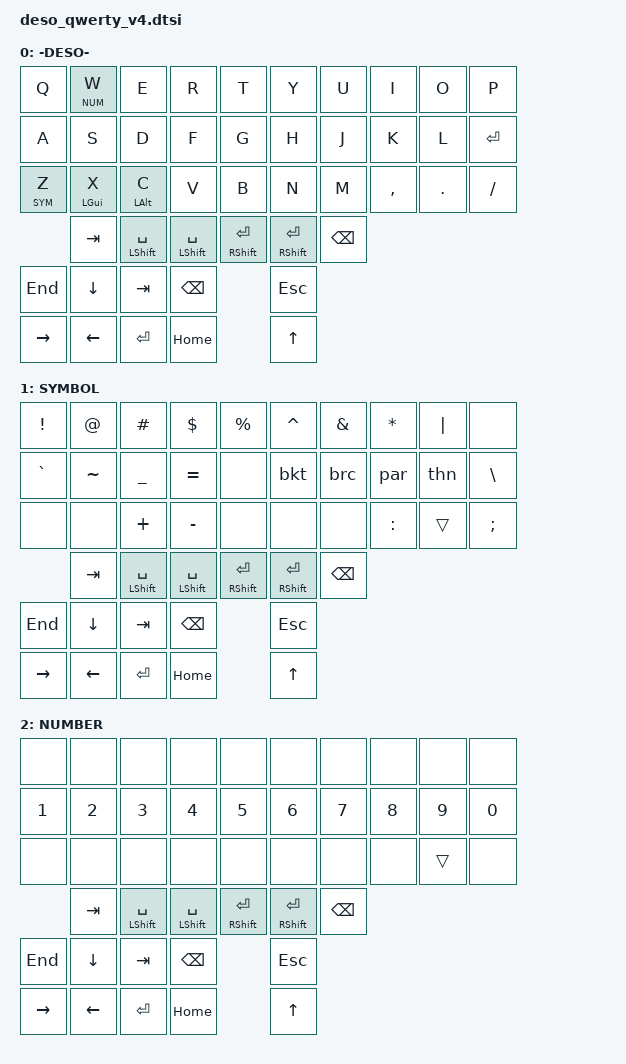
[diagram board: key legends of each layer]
/*
 * Last Update 12/3/24
 * QWERTY v4
 * 
 */

#include <behaviors.dtsi>
#include <dt-bindings/zmk/keys.h>
#include <dt-bindings/zmk/bt.h>
#include <dt-bindings/zmk/outputs.h>

#define DEF      0
#define SYM      1
#define NUM      2

#define SFTENT   &mt RSHIFT ENTER
#define SFTSPC   &mt LSHIFT SPACE
#define CPST     &cccv LC(C) LC(V)
#define CLIP     &kp LC(LA(Q))
#define GSHT     &kp LC(LA(G))
#define MSEH     &lt MSE H
#define MACA     &lt MAC A 
#define NUMG     &lt NUM G
#define SYMS     &lt SYM S 
#define FNC      &lt FN C
#define LCTD     &hrm LCTRL D
#define LLTT     &hrm LALT T
#define RTRN     &kp RET
#define TB       &kp TAB
#define BSP      &kp BSPC
#define BOOT     &bootloader
#define SNPL     &mo SNP
#define NNN      &none

&mt {
    flavor = "tap-preferred";
    tapping_term_ms = <180>;
};

&lt {
    tapping_term_ms = <150>;
};


/ {
    combos {

        compatible = "zmk,combos";
        combo_bootloader {
            timeout-ms = <50>;
            key-positions = <1 10>;
            bindings = <&bootloader>;
        };
    };

    behaviors {

        qesc: tap_dance_qesc {
            compatible = "zmk,behavior-tap-dance";
            #binding-cells = <0>;
            tapping-term-ms = <180>;
            bindings = <&kp Q>, <&kp ESC>;
        };

        bkt: tap_dance_bracket {
            compatible = "zmk,behavior-tap-dance";
            #binding-cells = <0>;
            tapping-term-ms = <200>;
            bindings = <&kp LBKT>, <&kp RBKT>;
        };

        brc: tap_dance_brace {
            compatible = "zmk,behavior-tap-dance";
            #binding-cells = <0>;
            tapping-term-ms = <200>;
            bindings = <&kp LBRC>, <&kp RBRC>;
        };

        par: tap_dance_paren {
            compatible = "zmk,behavior-tap-dance";
            #binding-cells = <0>;
            tapping-term-ms = <200>;
            bindings = <&kp LPAR>, <&kp RPAR>;
        };

        thn: tap_dance_then {
            compatible = "zmk,behavior-tap-dance";
            #binding-cells = <0>;
            tapping-term-ms = <200>;
            bindings = <&kp LT>, <&kp GT>;
        };

        hrm: homerow_mods {
           compatible = "zmk,behavior-hold-tap";
           #binding-cells = <2>;
           tapping-term-ms = <250>;
           quick-tap-ms = <0>;
           flavor = "tap-preferred";
           bindings = <&kp>, <&kp>;
        };

    };



    keymap {
        compatible = "zmk,keymap";

        default_layer {
            display-name = "-DESO-";  
            bindings = <
                &kp Q     &lt NUM W   &kp E       &kp R &kp T &kp Y &kp U &kp I     &kp O   &kp P
                &kp A     &kp S       &kp D       &kp F &kp G &kp H &kp J &kp K     &kp L   &kp RET
                &lt SYM Z &hrm LGUI X &hrm LALT C &kp V &kp B &kp N &kp M &kp COMMA &kp DOT &kp SLASH
                        TB    SFTSPC   SFTSPC      SFTENT  SFTENT  BSP
                &kp END    &kp DOWN     TB        BSP           &kp ESC
                &kp RIGHT  &kp LEFT     RTRN      &kp HOME      &kp UP
            >;
        };
        sym_layer {
            display-name = "SYMBOL";  
            bindings = <
                &kp EXCL &kp AT &kp HASH &kp DLLR &kp PRCNT &kp CARET &kp AMPS &kp STAR &kp PIPE &none
                &kp GRAVE &kp TILDE &kp UNDER &kp EQUAL &none &bkt &brc &par &thn &kp BSLH
                &none &none &kp PLUS &kp MINUS &none &none &none &kp COLON &trans &kp SEMI
                        TB    SFTSPC   SFTSPC      SFTENT  SFTENT  BSP
                &kp END    &kp DOWN     TB        BSP           &kp ESC
                &kp RIGHT  &kp LEFT     RTRN      &kp HOME      &kp UP
            >;
        };

        num_layer {
            display-name = "NUMBER";  
            bindings = <
                &none &none &none &none &none &none &none &none &none &none
                &kp N1 &kp N2 &kp N3 &kp N4 &kp N5 &kp N6 &kp N7 &kp N8 &kp N9 &kp N0
                &none &none &none &none &none &none &none &none &trans &none
                        TB    SFTSPC   SFTSPC      SFTENT  SFTENT  BSP
                &kp END    &kp DOWN     TB        BSP           &kp ESC
                &kp RIGHT  &kp LEFT     RTRN      &kp HOME      &kp UP
            >;
        };
    };
};
